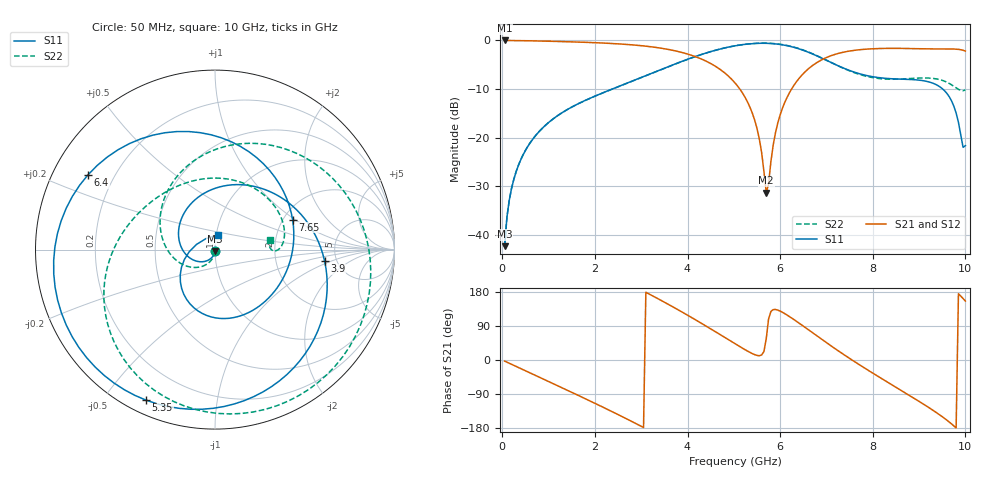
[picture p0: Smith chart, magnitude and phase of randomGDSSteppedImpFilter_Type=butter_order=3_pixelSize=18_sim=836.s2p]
! freq	dB(S11)	phase(S11)	dB(S12)	phase(S12)
!  dB(S21)	phase(S21)	dB(S22)	phase(S22)
!S-par simulation data
#  GHz  S  DB  R 50
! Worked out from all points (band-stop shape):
!   200 points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, 50 MHz to 10 GHz, reference 50 ohm
!   highest |S21| = -0.01 dB at 50 MHz (marker M1); lowest = -31.3 dB at 5.7 GHz (marker M2)
!   |S21| within 3 dB of the highest: start of sweep to 4.07 GHz; 7.141 GHz to end of sweep
!   lowest |S11| = -42.3 dB at 50 MHz (marker M3), VSWR 1.02, Z = 50 - j0.764 ohm
!   |S11| at or under -10 dB: start of sweep to 2.374 GHz; 9.51 GHz to end of sweep
!   |S22| runs from -42.3 to -0.6 dB; largest |S21 - S12| = 0
!   S11 on the Smith chart (normalised r, x): 50 MHz: 1.00, -0.02; 3.9 GHz: 4.00, -0.84; 5.35 GHz: 0.06, -0.64; 6.4 GHz: 0.11, +0.27; 7.65 GHz: 2.24, +0.96; 10 GHz: 1.02, +0.17
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0.05  -42.34 -91.1  -0.01 -2.9  -0.01 -2.9  -42.33 -90.0
0.2  -30.45 -103.4  -0.02 -11.4  -0.02 -11.4  -30.43 -98.9
0.5  -22.64 -124.5  -0.06 -28.4  -0.06 -28.4  -22.60 -113.1
1.15  -15.78 -169.7  -0.20 -65.3  -0.20 -65.3  -15.78 -142.7
1.75  -12.52 147.8  -0.37 -99.7  -0.37 -99.7  -12.53 -169.1
2.65  -8.95 82.7  -0.80 -153.2  -0.80 -153.2  -8.98 149.0
3.4  -6.09 29.1  -1.55 159.2  -1.55 159.2  -6.12 107.4
3.9  -4.23 -6.1  -2.53 125.3  -2.53 125.3  -4.26 74.8
4.45  -2.44 -45.5  -4.50 85.9  -4.50 85.9  -2.45 34.9
5.05  -1.07 -90.6  -9.03 41.2  -9.03 41.2  -1.06 -11.8
5.35  -0.70 -114.6  -13.79 19.9  -13.79 19.9  -0.68 -35.9
5.55  -0.59 -131.3  -20.26 11.3  -20.26 11.3  -0.57 -52.1
5.7  -0.59 -144.3  -31.34 56.6  -31.34 56.6  -0.56 -64.4
5.95  -0.77 -166.8  -16.96 131.6  -16.96 131.6  -0.73 -84.8
6.4  -1.71 149.5  -7.91 98.1  -7.91 98.1  -1.66 -121.4
6.7  -2.79 118.4  -5.16 71.9  -5.16 71.9  -2.74 -144.9
7.2  -4.99 65.7  -2.83 28.7  -2.83 28.7  -5.00 179.3
7.65  -6.68 21.2  -1.98 -7.8  -1.98 -7.8  -6.80 149.0
8.35  -7.85 -35.0  -1.63 -60.8  -1.63 -60.8  -7.98 96.5
9.2  -8.51 -93.4  -1.74 -124.7  -1.74 -124.7  -7.74 28.2
9.65  -11.57 -136.9  -1.75 -163.5  -1.75 -163.5  -8.85 1.1
10  -21.66 79.8  -2.18 155.5  -2.18 155.5  -10.19 9.6
